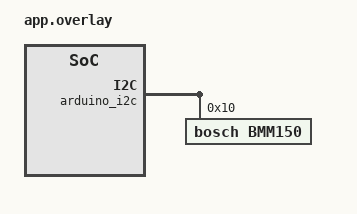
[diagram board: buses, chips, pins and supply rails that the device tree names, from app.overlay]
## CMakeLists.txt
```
#
# Copyright (c) 2021 Bosch Sensortec GmbH
#
# SPDX-License-Identifier: Apache-2.0
#

cmake_minimum_required(VERSION 3.20.0)
find_package(Zephyr REQUIRED HINTS $ENV{ZEPHYR_BASE})
project(bmm150)

FILE(GLOB app_sources src/*.c)
target_sources(app PRIVATE ${app_sources})


#external modules
add_subdirectory(src/raafat-bmm150)
```

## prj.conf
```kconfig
CONFIG_I2C=y
CONFIG_SENSOR=y

#logging
CONFIG_LOG=y
CONFIG_USE_SEGGER_RTT=y
CONFIG_LOG_MODE_MINIMAL=n
CONFIG_LOG_BACKEND_RTT=y
CONFIG_PRINTK=y


CONFIG_CLOCK_CONTROL_NRF_K32SRC_RC=y
CONFIG_CLOCK_CONTROL_NRF_K32SRC_250PPM=y
CONFIG_CLOCK_CONTROL_NRF_K32SRC_RC_CALIBRATION=y
CONFIG_CLOCK_CONTROL_NRF_CALIBRATION_MAX_SKIP=0
# CONFIG_CLOCK_CONTROL_NRF_CALIBRATION_LF_ALWAYS_ON=y

# Enables NFC Pins as GPIOs
CONFIG_NFCT_PINS_AS_GPIOS=y

# Disables On Chip DC-DC Converter
CONFIG_BOARD_ENABLE_DCDC=n
```

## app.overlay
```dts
/*
 * Copyright (c) 2021 Bosch Sensortec GmbH
 *
 * SPDX-License-Identifier: Apache-2.0
 */

&arduino_i2c {
	status = "okay";

	bmm150@10 {
		compatible = "bosch,bmm150";
		reg = <0x10>;
	};
};
```

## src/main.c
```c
/*
 * Copyright (c) 2021 Bosch Sensortec GmbH
 *
 * SPDX-License-Identifier: Apache-2.0
 */

#include <zephyr/kernel.h>
#include <stdio.h>

/* Raafat Includes */
#include "raafat_bmm150.h"


int main(void)
{
	raafat_bmm150_init();
	while (1) {
		/* 10ms period, 100Hz Sampling frequency */
		k_sleep(K_MSEC(10));
		raafat_bmm150_read();
	}
	return 0;
}
```
